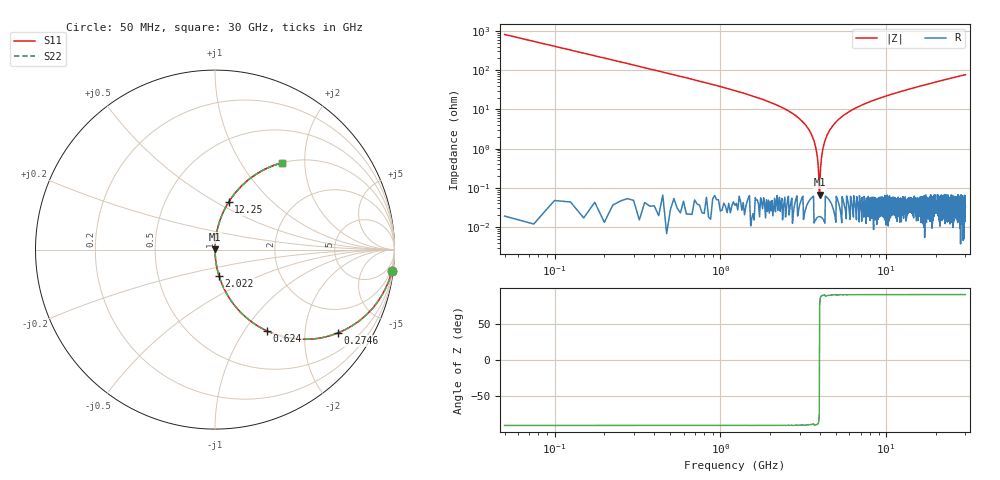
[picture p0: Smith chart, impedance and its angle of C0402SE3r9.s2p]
!	AVX Thin Film Operation 	Date: April 2014
!	Description: Accu-P® Series, Thin Film  SMD RF Capacitor
!	Part Number: 04025J3R9ABSTR
# MHZ S MA R 50
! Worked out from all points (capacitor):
!   1201 points, 50 MHz to 30 GHz, reference 50 ohm
!   read as one part in series: C = 3.9 pF near 199.8 MHz
!   lowest |Z| = 67.1 mohm at 3.968 GHz (marker M1)
!   series resonance near 3.956 GHz, so ESL is about 420 pH
!   S11 on the Smith chart (normalised r, x): 50 MHz: 1, -16; 274.6 MHz: 1.00, -2.96; 624 MHz: 1.00, -1.28; 2.022 GHz: 1.00, -0.30; 12.25 GHz: 1.00, +0.57; 30 GHz: 1.00, +1.54
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50  0.993 -7.0  0.122 83.0  0.122 83.0  0.993 -7.0
274.625  0.828 -34.1  0.56 55.9  0.56 55.9  0.828 -34.1
624.042  0.538 -57.5  0.843 32.5  0.843 32.5  0.538 -57.5
1123.208  0.317 -71.5  0.948 18.5  0.948 18.5  0.317 -71.5
2021.708  0.147 -81.4  0.989 8.5  0.989 8.5  0.147 -81.4
2895.25  0.065 -85.9  0.997 3.7  0.997 3.7  0.065 -85.9
3394.417  0.032 -87.5  0.999 1.8  0.999 1.8  0.032 -87.5
3644  0.017 -87.8  0.999 1.0  0.999 1.0  0.017 -87.8
3743.833  0.011 -87.5  1 0.7  1 0.7  0.011 -87.5
3843.667  0.005957 -86.1  1 0.3  1 0.3  0.005957 -86.1
3968.458  0.0007429 60.1  1 -0.0  1 -0.0  0.0007429 60.1
4068.292  0.005781 86.0  1 -0.3  1 -0.3  0.005781 86.0
4193.083  0.012 87.5  1 -0.7  1 -0.7  0.012 87.5
4342.833  0.019 87.8  0.999 -1.1  0.999 -1.1  0.019 87.8
5041.667  0.05 86.7  0.998 -2.9  0.998 -2.9  0.05 86.7
6813.708  0.117 83.1  0.993 -6.7  0.993 -6.7  0.117 83.1
10058.29  0.216 77.4  0.976 -12.5  0.976 -12.5  0.216 77.4
12254.62  0.275 74.0  0.961 -16.0  0.961 -16.0  0.275 74.0
15025  0.342 69.9  0.939 -20.0  0.939 -20.0  0.342 69.9
20016.67  0.448 63.3  0.894 -26.6  0.894 -26.6  0.448 63.3
25033.29  0.537 57.5  0.843 -32.5  0.843 -32.5  0.537 57.5
30000  0.609 52.4  0.793 -37.5  0.793 -37.5  0.609 52.4
